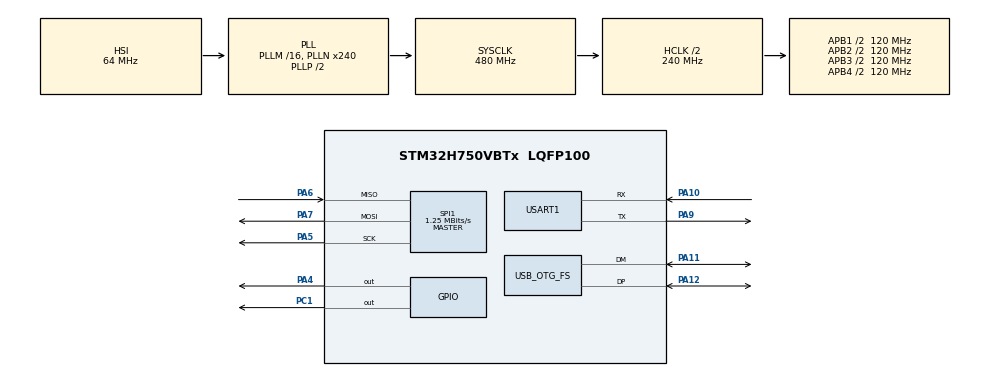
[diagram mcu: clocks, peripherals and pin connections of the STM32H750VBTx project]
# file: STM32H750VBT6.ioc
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Mcu.Family=STM32H7
Mcu.Name=STM32H750VBTx
Mcu.Package=LQFP100
NVIC.OTG_FS_IRQn=true\:0\:0\:false\:false\:true\:false\:true\:true
NVIC.PriorityGroup=NVIC_PRIORITYGROUP_4
PA10.Mode=Asynchronous
PA10.Signal=USART1_RX
PA11.Mode=Device_Only
PA11.Signal=USB_OTG_FS_DM
PA12.Mode=Device_Only
PA12.Signal=USB_OTG_FS_DP
PA13\ (JTMS/SWDIO).Mode=Serial_Wire
PA13\ (JTMS/SWDIO).Signal=DEBUG_JTMS-SWDIO
PA14\ (JTCK/SWCLK).Mode=Serial_Wire
PA14\ (JTCK/SWCLK).Signal=DEBUG_JTCK-SWCLK
PA4.Signal=GPIO_Output
PA5.Mode=Full_Duplex_Master
PA5.Signal=SPI1_SCK
PA6.Mode=Full_Duplex_Master
PA6.Signal=SPI1_MISO
PA7.Mode=Full_Duplex_Master
PA7.Signal=SPI1_MOSI
PA9.Mode=Asynchronous
PA9.Signal=USART1_TX
PC1.Signal=GPIO_Output
PC14-OSC32_IN\ (OSC32_IN).Mode=LSE-External-Oscillator
PC14-OSC32_IN\ (OSC32_IN).Signal=RCC_OSC32_IN
PC15-OSC32_OUT\ (OSC32_OUT).Mode=LSE-External-Oscillator
PC15-OSC32_OUT\ (OSC32_OUT).Signal=RCC_OSC32_OUT
PH0-OSC_IN\ (PH0).Mode=HSE-External-Oscillator
PH0-OSC_IN\ (PH0).Signal=RCC_OSC_IN
PH1-OSC_OUT\ (PH1).Mode=HSE-External-Oscillator
PH1-OSC_OUT\ (PH1).Signal=RCC_OSC_OUT
ProjectManager.HeapSize=0x600
ProjectManager.StackSize=0x400
ProjectManager.TargetToolchain=MDK-ARM V5.32
RCC.ADCFreq_Value=80000000
RCC.APB1Freq_Value=120000000
RCC.APB2Freq_Value=120000000
RCC.APB3Freq_Value=120000000
RCC.APB4Freq_Value=120000000
RCC.CortexFreq_Value=480000000
RCC.D1PPRE=RCC_APB3_DIV2
RCC.D2PPRE1=RCC_APB1_DIV2
RCC.D2PPRE2=RCC_APB2_DIV2
RCC.D3PPRE=RCC_APB4_DIV2
RCC.DIVM1=16
RCC.DIVN1=240
RCC.DIVN2=80
RCC.HCLKFreq_Value=240000000
RCC.HPRE=RCC_HCLK_DIV2
RCC.HSE_VALUE=12000000
RCC.ProductRev=revV
RCC.SPI123CLockSelection=RCC_SPI123CLKSOURCE_PLL2
RCC.SYSCLKFreq_VALUE=480000000
RCC.SYSCLKSource=RCC_SYSCLKSOURCE_PLLCLK
RCC.USBCLockSelection=RCC_USBCLKSOURCE_HSI48
RCC.USBFreq_Value=48000000
SPI1.BaudRatePrescaler=SPI_BAUDRATEPRESCALER_64
SPI1.CalculateBaudRate=1.25 MBits/s
SPI1.DataSize=SPI_DATASIZE_8BIT
SPI1.Direction=SPI_DIRECTION_2LINES
SPI1.Mode=SPI_MODE_MASTER
SPI1.VirtualType=VM_MASTER
TIM2.AutoReloadPreload=TIM_AUTORELOAD_PRELOAD_ENABLE
TIM2.Prescaler=240 - 1
USART1.VirtualMode-Asynchronous=VM_ASYNC
USB_DEVICE.CLASS_NAME_FS=CDC
USB_DEVICE.VirtualMode-CDC_FS=Cdc
USB_DEVICE.VirtualModeFS=Cdc_FS
USB_OTG_FS.VirtualMode=Device_Only
VP_TIM2_VS_ClockSourceINT.Mode=Internal
VP_USB_DEVICE_VS_USB_DEVICE_CDC_FS.Mode=CDC_FS
board=custom

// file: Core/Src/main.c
/* USER CODE BEGIN Header */
/**
  ******************************************************************************
  * @file           : main.c
  * @brief          : Main program body
  ******************************************************************************
  * @attention
  *
  * Copyright (c) 2024 STMicroelectronics.
  * All rights reserved.
  *
  * This software is licensed under terms that can be found in the LICENSE file
  * in the root directory of this software component.
  * If no LICENSE file comes with this software, it is provided AS-IS.
  *
  ******************************************************************************
  */
/* USER CODE END Header */
#include "main.h"
#include "spi.h"
#include "tim.h"
#include "usart.h"
#include "usb_device.h"
#include "gpio.h"

/* USER CODE BEGIN Includes */
#include "uart.h"
#include "icm42688.h"
#include "kalman.h"
#include "usbd_cdc_if.h"
/* USER CODE END Includes */

/* USER CODE BEGIN PV */
Kalman_t KalmanX = {
        .Q_angle = 0.001f,
        .Q_bias = 0.003f,
        .R_measure = 0.03f
};

Kalman_t KalmanY = {
        .Q_angle = 0.001f,
        .Q_bias = 0.003f,
        .R_measure = 0.03f,
};

EKF_t Kalman_para = {
    .Q_angle = 0.001f,
    .Q_bias = 0.003f,
    .R_measure = 0.03f
};
/* USER CODE END PV */

void SystemClock_Config(void);
/* USER CODE BEGIN PFP */
extern float current_yaw;
/* USER CODE END PFP */

int main(void)
{

  /* MCU Configuration--------------------------------------------------------*/

  /* Reset of all peripherals, Initializes the Flash interface and the Systick. */
  HAL_Init();

  /* Configure the system clock */
  SystemClock_Config();

  /* Initialize all configured peripherals */
  MX_GPIO_Init();
  MX_USART1_UART_Init();
  MX_SPI1_Init();
  MX_TIM2_Init();
  MX_USB_DEVICE_Init();
  /* USER CODE BEGIN 2 */
  usb_printf("HelloWorld!\n");
  icm42688_Init();
  EKF_init(&Kalman_para);
  Yaw_Bias_Calibration(&Kalman_para);
  myprintf("Yaw Bias:%f\n", Kalman_para.bias_yaw);

  // myprintf("Hello World:%d!\n",sizeof(FIFO_Raw_Data));

  // icm42688_data acc, gyro;
  Angle_Data angle;
  // icm42688_data_float angle;
  Start_usTick();
  /* USER CODE END 2 */

  /* Infinite loop */
  /* USER CODE BEGIN WHILE */
  while (1)
  {
    // acc = icm42688_getAccel();
    // gyro = icm42688_getGYRO();

    // angle = Calculate_Angle_ByGyro(gyro, delta_time);
    // angle = Calculate_Angle_ByAcc(acc);
    //angle.Pitch = Kalman_getAngle(&KalmanX, Calculate_Angle_ByAcc(acc).Roll, icm42688_getGYRO_float().x, delta_time);
    angle = EKF_update(&Kalman_para, icm42688_getAcc_float(), icm42688_getGYRO_float(), Get_usTick() / 1000000.0l);
    Reset_usTick();
    // myprintf("Anlge:%d,%d,%d\n", acc.x, acc.y, acc.z);
    // angle = icm42688_getAcc_float();
    // myprintf("Anlge:%f,%f,%f\n", angle.x, angle.y, angle.z);
    usb_printf("Anlge:%f,%f,%f\n", angle.Pitch, angle.Roll, angle.Yaw);

    /* USER CODE END WHILE */

    /* USER CODE BEGIN 3 */
	  HAL_GPIO_TogglePin(GPIOC, GPIO_PIN_1);
	  HAL_Delay(5);
  }
  /* USER CODE END 3 */
}

void SystemClock_Config(void)
{
  RCC_OscInitTypeDef RCC_OscInitStruct = {0};
  RCC_ClkInitTypeDef RCC_ClkInitStruct = {0};

  /** Supply configuration update enable
  */
  HAL_PWREx_ConfigSupply(PWR_LDO_SUPPLY);

  /** Configure the main internal regulator output voltage
  */
  __HAL_PWR_VOLTAGESCALING_CONFIG(PWR_REGULATOR_VOLTAGE_SCALE1);

  while(!__HAL_PWR_GET_FLAG(PWR_FLAG_VOSRDY)) {}

  __HAL_RCC_SYSCFG_CLK_ENABLE();
  __HAL_PWR_VOLTAGESCALING_CONFIG(PWR_REGULATOR_VOLTAGE_SCALE0);

  while(!__HAL_PWR_GET_FLAG(PWR_FLAG_VOSRDY)) {}

  /** Initializes the RCC Oscillators according to the specified parameters
  * in the RCC_OscInitTypeDef structure.
  */
  RCC_OscInitStruct.OscillatorType = RCC_OSCILLATORTYPE_HSI48|RCC_OSCILLATORTYPE_HSI;
  RCC_OscInitStruct.HSIState = RCC_HSI_DIV1;
  RCC_OscInitStruct.HSICalibrationValue = RCC_HSICALIBRATION_DEFAULT;
  RCC_OscInitStruct.HSI48State = RCC_HSI48_ON;
  RCC_OscInitStruct.PLL.PLLState = RCC_PLL_ON;
  RCC_OscInitStruct.PLL.PLLSource = RCC_PLLSOURCE_HSI;
  RCC_OscInitStruct.PLL.PLLM = 16;
  RCC_OscInitStruct.PLL.PLLN = 240;
  RCC_OscInitStruct.PLL.PLLP = 2;
  RCC_OscInitStruct.PLL.PLLQ = 2;
  RCC_OscInitStruct.PLL.PLLR = 2;
  RCC_OscInitStruct.PLL.PLLRGE = RCC_PLL1VCIRANGE_2;
  RCC_OscInitStruct.PLL.PLLVCOSEL = RCC_PLL1VCOWIDE;
  RCC_OscInitStruct.PLL.PLLFRACN = 0;
  if (HAL_RCC_OscConfig(&RCC_OscInitStruct) != HAL_OK)
  {
    Error_Handler();
  }

  /** Initializes the CPU, AHB and APB buses clocks
  */
  RCC_ClkInitStruct.ClockType = RCC_CLOCKTYPE_HCLK|RCC_CLOCKTYPE_SYSCLK
                              |RCC_CLOCKTYPE_PCLK1|RCC_CLOCKTYPE_PCLK2
                              |RCC_CLOCKTYPE_D3PCLK1|RCC_CLOCKTYPE_D1PCLK1;
  RCC_ClkInitStruct.SYSCLKSource = RCC_SYSCLKSOURCE_PLLCLK;
  RCC_ClkInitStruct.SYSCLKDivider = RCC_SYSCLK_DIV1;
  RCC_ClkInitStruct.AHBCLKDivider = RCC_HCLK_DIV2;
  RCC_ClkInitStruct.APB3CLKDivider = RCC_APB3_DIV2;
  RCC_ClkInitStruct.APB1CLKDivider = RCC_APB1_DIV2;
  RCC_ClkInitStruct.APB2CLKDivider = RCC_APB2_DIV2;
  RCC_ClkInitStruct.APB4CLKDivider = RCC_APB4_DIV2;

  if (HAL_RCC_ClockConfig(&RCC_ClkInitStruct, FLASH_LATENCY_4) != HAL_OK)
  {
    Error_Handler();
  }
}

void Error_Handler(void)
{
  __disable_irq();
  while (1)
  {
  }
}
